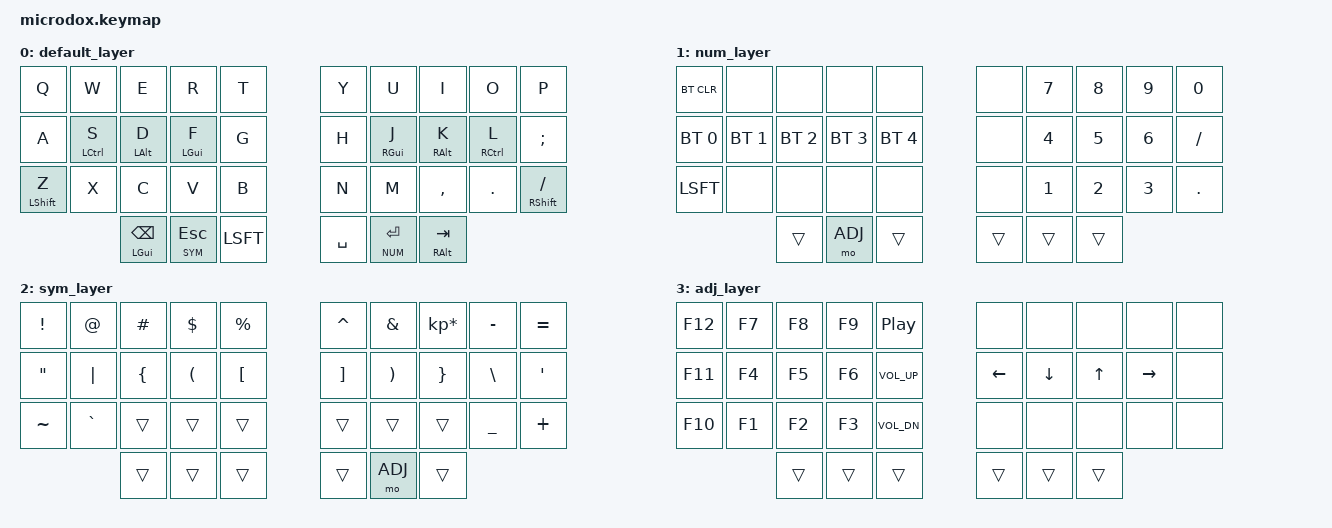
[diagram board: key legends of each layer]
/*
* west build -d build/microdox/left -b nice_nano_v2 -- -DSHIELD=microdox_left -DZMK_CONFIG="$HOME/Documents/Code/zmk-config/config/microdox"
* west build -d build/microdox/right -b nice_nano_v2 -- -DSHIELD=microdox_right -DZMK_CONFIG="$HOME/Documents/Code/zmk-config/config/microdox"
*/
#include <behaviors.dtsi>
#include <dt-bindings/zmk/keys.h>
#include <dt-bindings/zmk/bt.h>
#include "keypos_36keys.h"

#define DEFAULT 0
#define NUM 1
#define SYM 2
#define ADJ 3
#
#define COMBO_FAST 30
#define COMBO_REJECT 100

&lt {
    tapping-term-ms = <100>;
};

&kscan0 {
    debounce-press-ms = <12>;
    debounce-release-ms = <8>;
};

/*                KEY POSITIONS

  ╭─────────────────────╮ ╭─────────────────────╮
  │ LT4 LT3 LT2 LT1 LT0 │ │ RT0 RT1 RT2 RT3 RT4 │
  │ LM4 LM3 LM2 LM1 LM0 │ │ RM0 RM1 RM2 RM3 RM4 │
  │ LB4 LB3 LB2 LB1 LB0 │ │ RB0 RB1 RB2 RB3 RB4 │
  ╰───────╮ LH2 LH1 LH0 │ │ RH0 RH1 RH2 ╭───────╯
          ╰─────────────╯ ╰─────────────╯ */


/ {
        behaviors {
            hm: hm {
                compatible = "zmk,behavior-hold-tap";
                label = "HOMEROW_MODS";
                #binding-cells = <2>;
                tapping-term-ms = <200>;
                quick-tap-ms = <200>;
                flavor = "tap-preferred";
                bindings = <&kp>, <&kp>;
            };

            tm: tm {
                compatible = "zmk,behavior-hold-tap";
                label = "THUMB_MODS";
                #binding-cells = <2>;
                tapping-term-ms = <100>;
                quick-tap-ms = <200>;
                flavor = "hold-preferred";
                bindings = <&kp>, <&kp>;
            };
        };

        combos {
            compatible = "zmk,combos";

            // left hand combos
            combo_esc {
                timeout-ms = <COMBO_FAST>;
                key-positions = <LB3 LB1>;
                bindings = <&kp ESC>;
                require-prior-idle-ms = <COMBO_REJECT>;
            };
            combo_ret {
                timeout-ms = <COMBO_FAST>;
                key-positions = <LB3 LB2>;
                bindings = <&kp RET>;
                require-prior-idle-ms = <COMBO_REJECT>;
            };
            combo_tab {
                timeout-ms = <COMBO_FAST>;
                key-positions = <LB2 LB1>;
                bindings = <&kp TAB>;
                require-prior-idle-ms = <COMBO_REJECT>;
            };

            // right hand combos
            // combo_bspc {
            //     timeout-ms = <COMBO_FAST>;
            //     key-positions = <RB1 RB2>;
            //     bindings = <&kp BSPC>;
            //     require-prior-idle-ms = <COMBO_REJECT>;
            // };
            // combo_del {
            //     timeout-ms = <COMBO_FAST>;
            //     key-positions = <RB2 RB3>;
            //     bindings = <&kp DEL>;
            //     require-prior-idle-ms = <COMBO_REJECT>;
            // };
            combo_scroll_up {
                timeout-ms = <COMBO_FAST>;
                key-positions = <RT2 RT3>;
                bindings = <&kp C_AC_SCROLL_UP>;
                require-prior-idle-ms = <COMBO_REJECT>;
            };
            combo_scroll_down {
                timeout-ms = <COMBO_FAST>;
                key-positions = <RB2 RB3>;
                bindings = <&kp C_AC_SCROLL_DOWN>;
                require-prior-idle-ms = <COMBO_REJECT>;
            };
        };


        keymap {
                compatible = "zmk,keymap";

                default_layer {
// -----------------------------------------------------------------------------------------
// |  Q  |  W  |  E  |  R  |  T   |   |  Y  |  U  |  I  |  O  |  P  |
// |  A  |  S  |  D  |  F  |  G   |   |  H  |  J  |  K  |  L  |  ;  |
// |  Z  |  X  |  C  |  V  |  B   |   |  N  |  M  |  ,  |  .  |  /  |
//             | GUI | SYM | SHFT |   | SPC | NUM | ALT |
                        bindings = <
   &kp Q       &kp W       &kp E         &kp R       &kp T        &kp Y       &kp U       &kp I        &kp O       &kp P
   &kp A       &hm LCTRL S &hm LALT D    &hm LGUI F  &kp G        &kp H       &hm RGUI J  &hm RALT K   &hm RCTRL L &kp SEMI
   &hm LSHFT Z &kp X       &kp C         &kp V       &kp B        &kp N       &kp M       &kp COMMA    &kp DOT     &hm RSHFT FSLH
                           &tm LGUI BSPC &lt SYM ESC &kp LSFT     &kp SPACE   &lt NUM RET &tm RALT TAB
                        >;
                };
                num_layer {
// -----------------------------------------------------------------------------------------
// |BTCLR|     |     |     |     |   |  7  |  8  |  9  |  0  |
// | BT1 | BT2 | BT3 | BT4 | BT5 |   |  4  |  5  |  6  |  /  |
// | SFT |     |     |     |     |   |  1  |  2  |  3  |  .  |
//             |     | ADJ |     |   |     |     |
                        bindings = <
   &bt BT_CLR   &none        &none        &none        &none         &none  &kp N7 &kp N8 &kp N9 &kp N0
   &bt BT_SEL 0 &bt BT_SEL 1 &bt BT_SEL 2 &bt BT_SEL 3 &bt BT_SEL 4  &none  &kp N4 &kp N5 &kp N6 &kp FSLH
   &kp LSFT     &none        &none        &none        &none         &none  &kp N1 &kp N2 &kp N3 &kp DOT
                             &trans       &mo ADJ      &trans        &trans &trans &trans
                        >;
                };

                sym_layer {
// -----------------------------------------------------------------------------------------
// |  !  |  @  |  #  |  $  |  %  |   |  ^  |  &  |  *  |  -  |  =  |
// |  "  |  |  |  {  |  (  |  [  |   |  ]  |  )  |  }  |  \  |  '  |
// |  ~  |  `  |     |     |     |   |     |     |     |  _  |  +  |
//             |     |     |     |   |     | ADJ |     |
                        bindings = <
   &kp EXCL  &kp AT    &kp HASH &kp DLLR &kp PRCNT    &kp CARET &kp AMPS &kp KP_MULTIPLY &kp MINUS &kp EQUAL
   &kp DQT   &kp PIPE  &kp LBRC &kp LPAR &kp LBKT     &kp RBKT  &kp RPAR &kp RBRC        &kp BSLH  &kp SQT
   &kp TILDE &kp GRAVE &trans   &trans   &trans       &trans    &trans   &trans          &kp UNDER &kp PLUS
                       &trans   &trans   &trans       &trans    &mo ADJ  &trans
                        >;
                };

                adj_layer {
                        bindings = <
   &kp F12 &kp F7 &kp F8 &kp F9 &kp C_PP          &none    &none    &none  &none     &none
   &kp F11 &kp F4 &kp F5 &kp F6 &kp C_VOL_UP      &kp LEFT &kp DOWN &kp UP &kp RIGHT &none
   &kp F10 &kp F1 &kp F2 &kp F3 &kp C_VOL_DN      &none    &none    &none  &none     &none
                  &trans &trans &trans            &trans   &trans   &trans
                        >;
                };
        };
};
